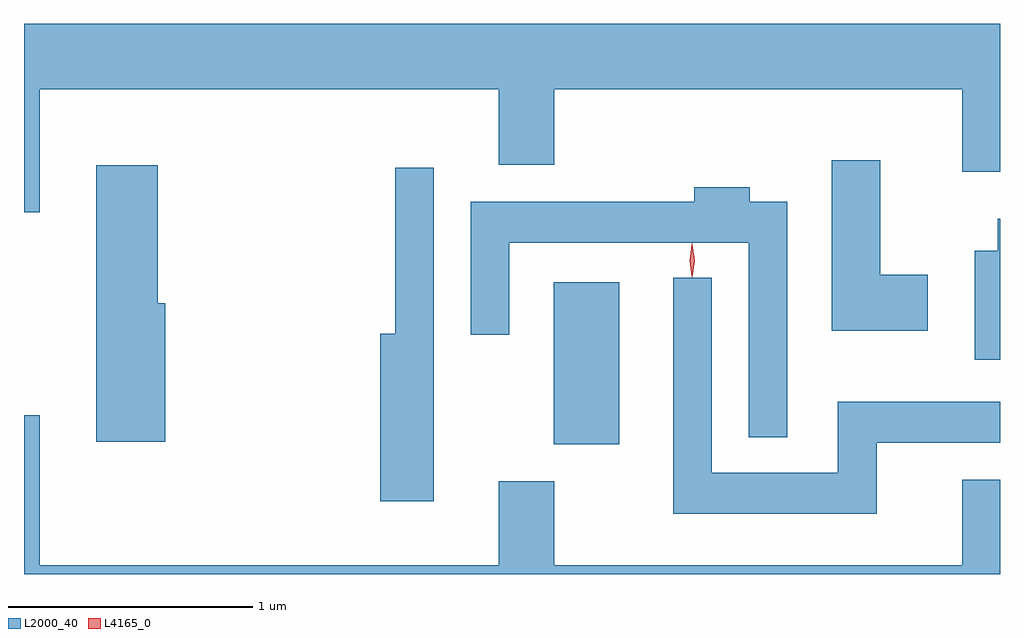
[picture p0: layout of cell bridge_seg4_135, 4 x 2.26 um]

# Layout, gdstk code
import gdstk
lib = gdstk.Library(unit=1e-6, precision=1e-09)
def R(c, l, rs):  # rectangles x0, y0, x1, y1
    for r in rs: c.add(gdstk.rectangle(r[:2], r[2:], *l))
def P(c, l, *ps):  # polygons
    for p in ps: c.add(gdstk.Polygon(p, *l))
L2000_40 = (2000, 40)
L4165_0 = (4165, 0)

bridge_seg4_135 = lib.new_cell('bridge_seg4_135')
R(bridge_seg4_135, L2000_40, [(927.516,1311.041,927.784,1311.704)])
P(bridge_seg4_135, L2000_40, [(925.409,1312.496),(927.291,1312.496),(927.291,1312.186),(927.519,1312.186),(927.519,1312.496),(929.191,1312.496),(929.191,1312.156),(929.345,1312.156),(929.345,1312.764),(925.345,1312.764),(925.345,1311.991),(925.409,1311.991)],
  [(929.049,1311.734),(928.854,1311.734),(928.854,1312.204),(928.656,1312.204),(928.656,1311.506),(929.049,1311.506)],
  [(925.924,1311.619),(925.894,1311.619),(925.894,1312.184),(925.641,1312.184),(925.641,1311.051),(925.924,1311.051)],
  [(927.024,1312.173),(926.866,1312.173),(926.866,1311.494),(926.806,1311.494),(926.806,1310.806),(927.024,1310.806)],
  [(928.474,1312.034),(928.319,1312.034),(928.319,1312.094),(928.091,1312.094),(928.091,1312.034),(927.176,1312.034),(927.176,1311.488),(927.334,1311.488),(927.334,1311.866),(928.316,1311.866),(928.316,1311.068),(928.474,1311.068)],
  [(929.345,1311.964),(929.336,1311.964),(929.336,1311.834),(929.241,1311.834),(929.241,1311.386),(929.345,1311.386)],
  [(928.839,1311.046),(929.345,1311.046),(929.345,1311.214),(928.681,1311.214),(928.681,1310.924),(928.164,1310.924),(928.164,1311.723),(928.006,1311.723),(928.006,1310.756),(928.839,1310.756)],
  [(927.519,1310.889),(927.291,1310.889),(927.291,1310.544),(925.409,1310.544),(925.409,1311.159),(925.345,1311.159),(925.345,1310.507),(929.345,1310.507),(929.345,1310.894),(929.191,1310.894),(929.191,1310.544),(927.519,1310.544)])
P(bridge_seg4_135, L4165_0, [(928.082,1311.727),(928.073,1311.794),(928.082,1311.86),(928.083,1311.86),(928.083,1311.86),(928.093,1311.794),(928.084,1311.727),(928.083,1311.727)],
  [(928.084,1311.724),(928.084,1311.724),(928.074,1311.793),(928.084,1311.862),(928.084,1311.863),(928.084,1311.862),(928.094,1311.793),(928.084,1311.724)])

lib.write_gds('bridge_seg4_135.gds')
